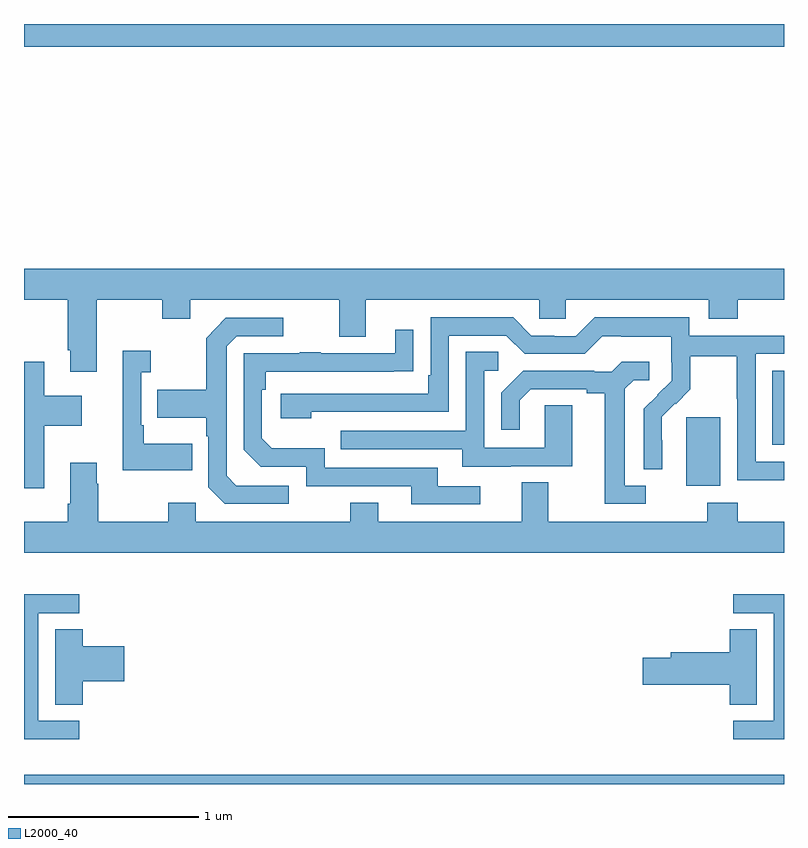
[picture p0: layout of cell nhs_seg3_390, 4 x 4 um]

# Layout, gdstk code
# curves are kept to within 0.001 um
import gdstk
lib = gdstk.Library(unit=1e-6, precision=1e-09)
def R(c, l, rs):  # rectangles x0, y0, x1, y1
    for r in rs: c.add(gdstk.rectangle(r[:2], r[2:], *l))
def P(c, l, *ps):  # polygons
    for p in ps: c.add(gdstk.Polygon(p, *l))
L2000_40 = (2000, 40)

nhs_seg3_390 = lib.new_cell('nhs_seg3_390')
R(nhs_seg3_390, L2000_40, [(131,666.4,135,666.448), (134.486,667.97,134.665,668.331), (134.939,668.186,135,668.575), (131,670.28,135,670.4)])
P(nhs_seg3_390, L2000_40, [(131.383,668.948),(131.728,668.948),(131.728,668.849),(131.875,668.849),(131.875,668.948),(132.659,668.948),(132.659,668.754),(132.799,668.754),(132.799,668.948),(133.713,668.948),(133.713,668.85),(133.851,668.85),(133.851,668.948),(134.603,668.948),(134.603,668.849),(134.756,668.849),(134.756,668.948),(135,668.948),(135,669.112),(131,669.112),(131,668.948),(131.231,668.948),(131.231,668.683),(131.243,668.683),(131.243,668.571),(131.383,668.571)],
  [(135,668.097),(134.85,668.097),(134.85,668.664),(135,668.664),(135,668.76),(134.502,668.76),(134.502,668.857),(134.005,668.857),(133.905,668.757),(133.79,668.757),(133.79,668.76),(133.671,668.76),(133.575,668.856),(133.14,668.856),(133.14,668.551),(133.127,668.551),(133.127,668.454),(132.351,668.454),(132.351,668.324),(132.512,668.324),(132.512,668.358),(133.236,668.358),(133.236,668.76),(133.539,668.76),(133.635,668.664),(133.95,668.664),(134.043,668.757),(134.143,668.757),(134.143,668.753),(134.406,668.753),(134.406,668.619),(134.408,668.619),(134.408,668.522),(134.262,668.374),(134.262,668.056),(134.358,668.056),(134.357,668.333),(134.427,668.403),(134.43,668.4),(134.507,668.477),(134.507,668.652),(134.752,668.652),(134.752,668.428),(134.754,668.428),(134.754,667.999),(135,667.999)],
  [(132.394,667.971),(132.117,667.971),(132.066,668.022),(132.066,668.703),(132.12,668.757),(132.364,668.757),(132.364,668.853),(132.063,668.853),(131.958,668.747),(131.958,668.475),(131.701,668.475),(131.701,668.327),(131.958,668.327),(131.958,668.231),(131.97,668.231),(131.97,667.962),(132.057,667.875),(132.394,667.875)],
  [(133.402,667.968),(133.177,667.968),(133.177,668.064),(132.582,668.064),(132.582,668.167),(132.305,668.167),(132.252,668.22),(132.252,668.474),(132.272,668.474),(132.272,668.571),(133.049,668.572),(133.049,668.791),(132.953,668.791),(132.953,668.667),(132.563,668.667),(132.563,668.672),(132.451,668.672),(132.451,668.667),(132.156,668.667),(132.156,668.16),(132.246,668.07),(132.486,668.07),(132.486,667.968),(133.037,667.968),(133.037,667.872),(133.402,667.872)],
  [(131.885,668.191),(131.629,668.191),(131.629,668.287),(131.616,668.287),(131.616,668.567),(131.668,668.567),(131.668,668.68),(131.519,668.68),(131.519,668.051),(131.885,668.051)],
  [(133.561,668.073),(133.885,668.073),(133.885,668.393),(133.74,668.393),(133.74,668.169),(133.422,668.169),(133.422,668.574),(133.495,668.574),(133.495,668.675),(133.326,668.675),(133.326,668.259),(132.667,668.259),(132.667,668.163),(133.307,668.163),(133.307,668.069),(133.561,668.069)],
  [(131.107,668.285),(131.305,668.285),(131.305,668.443),(131.107,668.443),(131.107,668.623),(131,668.623),(131,667.956),(131.107,667.956)],
  [(134.272,667.971),(134.161,667.971),(134.161,668.479),(134.208,668.526),(134.29,668.526),(134.29,668.623),(134.146,668.623),(134.094,668.571),(134,668.571),(134,668.574),(133.628,668.574),(133.512,668.458),(133.512,668.265),(133.609,668.265),(133.609,668.421),(133.666,668.478),(133.961,668.478),(133.961,668.456),(134.057,668.456),(134.057,667.875),(134.272,667.875)],
  [(135,667.78),(134.756,667.78),(134.756,667.879),(134.596,667.879),(134.596,667.78),(133.759,667.78),(133.759,667.988),(133.619,667.988),(133.619,667.78),(132.865,667.78),(132.865,667.879),(132.718,667.879),(132.718,667.78),(131.904,667.78),(131.904,667.879),(131.758,667.879),(131.758,667.78),(131.391,667.78),(131.391,667.979),(131.383,667.979),(131.383,668.092),(131.243,668.092),(131.243,667.876),(131.231,667.876),(131.231,667.78),(131,667.78),(131,667.616),(135,667.616)],
  [(135,667.398),(134.733,667.398),(134.733,667.299),(134.946,667.299),(134.946,666.732),(134.733,666.732),(134.733,666.636),(135,666.636)],
  [(131.29,666.732),(131.076,666.732),(131.076,667.299),(131.29,667.299),(131.29,667.398),(131,667.398),(131,666.636),(131.29,666.636)],
  [(131.309,666.941),(131.527,666.941),(131.527,667.124),(131.309,667.124),(131.309,667.214),(131.165,667.214),(131.165,666.817),(131.309,666.817)],
  [(134.857,667.214),(134.714,667.214),(134.714,667.094),(134.405,667.094),(134.405,667.064),(134.256,667.064),(134.256,666.922),(134.714,666.922),(134.714,666.817),(134.857,666.817)])

lib.write_gds('nhs_seg3_390.gds')
